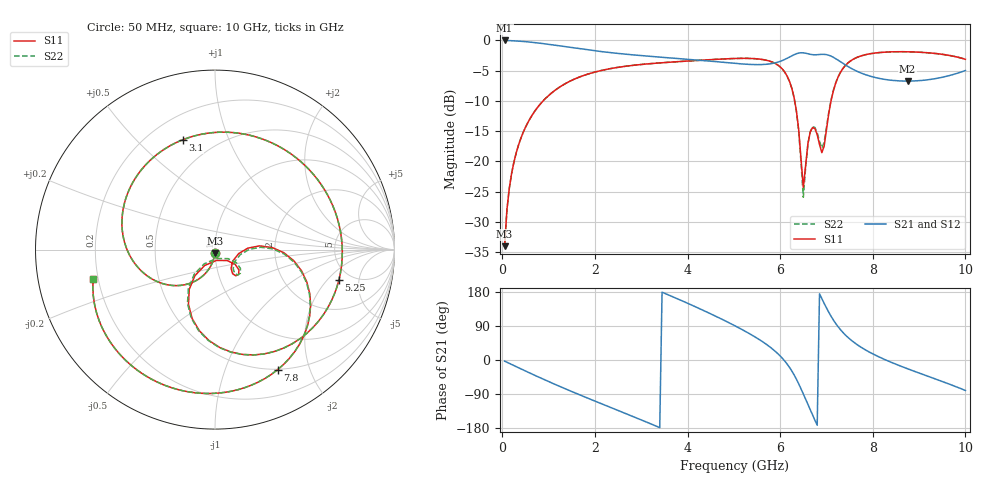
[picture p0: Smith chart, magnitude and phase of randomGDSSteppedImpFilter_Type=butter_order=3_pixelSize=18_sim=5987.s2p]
! freq	dB(S11)	phase(S11)	dB(S12)	phase(S12)
!  dB(S21)	phase(S21)	dB(S22)	phase(S22)
!S-par simulation data
#  GHz  S  DB  R 50
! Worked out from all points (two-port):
!   200 points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, 50 MHz to 10 GHz, reference 50 ohm
!   highest |S21| = 0.00 dB at 50 MHz (marker M1); lowest = -6.7 dB at 8.75 GHz (marker M2)
!   |S21| within 3 dB of the highest: start of sweep to 3.829 GHz; 6.138 GHz to 7.197 GHz (1.059 GHz wide, 15.9 % of centre)
!   lowest |S11| = -34.0 dB at 50 MHz (marker M3), VSWR 1.04, Z = 49.9 - j1.98 ohm
!   |S11| at or under -10 dB: start of sweep to 882.2 MHz; 6.314 GHz to 7.099 GHz (785.1 MHz wide, 11.7 % of centre)
!   |S22| runs from -34.0 to -1.9 dB; largest |S21 - S12| = 0
!   S11 on the Smith chart (normalised r, x): 50 MHz: 1.00, -0.04; 3.1 GHz: 0.34, +0.69; 5.25 GHz: 3.98, -2.72; 7.8 GHz: 0.49, -1.53; 10 GHz: 0.18, -0.12
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0.05  -34.03 -92.9  -0.00 -3.0  -0.00 -3.0  -34.03 -92.9
0.2  -22.06 -102.0  -0.05 -11.7  -0.05 -11.7  -22.06 -102.0
0.5  -14.38 -119.5  -0.20 -29.0  -0.20 -29.0  -14.38 -119.6
1.1  -8.47 -152.8  -0.75 -62.2  -0.75 -62.2  -8.47 -152.9
1.75  -5.82 173.4  -1.46 -95.9  -1.46 -95.9  -5.82 173.4
3.1  -3.90 106.3  -2.57 -163.1  -2.57 -163.1  -3.90 106.3
3.4  -3.72 91.1  -2.75 -178.4  -2.75 -178.4  -3.72 91.0
4.2  -3.31 48.6  -3.23 138.8  -3.23 138.8  -3.31 48.5
5.05  -2.98 -0.9  -3.81 88.6  -3.81 88.6  -2.98 -1.0
5.25  -2.96 -13.7  -3.93 75.5  -3.93 75.5  -2.96 -13.8
5.8  -3.50 -55.1  -3.85 32.4  -3.85 32.4  -3.50 -55.4
6.2  -6.73 -100.9  -2.76 -19.2  -2.76 -19.2  -6.76 -101.6
6.35  -11.58 -123.0  -2.20 -50.4  -2.20 -50.4  -11.69 -124.7
6.5  -24.32 -82.3  -2.05 -89.4  -2.05 -89.4  -25.94 -79.9
6.7  -14.41 -46.3  -2.35 -145.2  -2.35 -145.2  -14.29 -42.8
6.9  -18.56 -32.6  -2.30 161.8  -2.30 161.8  -17.80 -31.3
7.1  -9.94 2.1  -2.60 115.3  -2.60 115.3  -9.84 0.7
7.4  -4.22 -30.0  -4.01 67.0  -4.01 67.0  -4.21 -30.5
7.8  -2.44 -62.5  -5.55 29.7  -5.55 29.7  -2.44 -62.8
8.35  -1.90 -93.4  -6.54 -3.6  -6.54 -3.6  -1.90 -93.6
8.75  -1.88 -111.9  -6.73 -23.1  -6.73 -23.1  -1.88 -112.0
10  -3.12 -166.2  -4.98 -80.4  -4.98 -80.4  -3.12 -166.3
